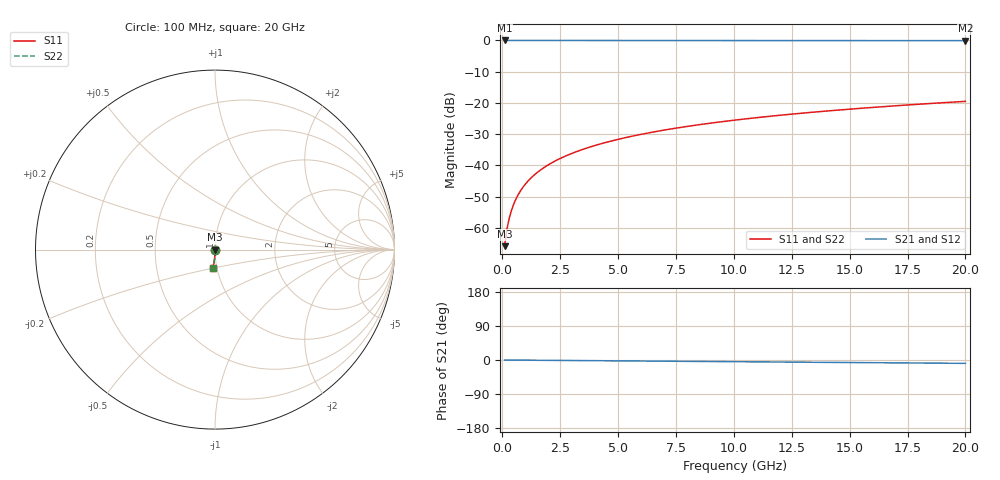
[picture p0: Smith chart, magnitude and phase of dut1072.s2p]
! Touchstone file exported from HFSS 2026.1.0
!  File:  C:/ffzhzh/LocalFiles/Ansys_Project_Files/temp_train_TSV_1072_1783189939_43440.aedt
!  Generated:  02:33:40 AM Jul  5, 2026
!  Design:  TSV
!  Project:  temp_train_TSV_1072_1783189939_43440
! Variables:
!  h_bsmrdl = 2um
!  h_ox = 20um
!  h_rdl = 5um
!  h_sub = 69.46um
!  h_tmrdl = 5um
!  h_tsv = 69.46um
!  h_via = 3um
!  l_bsmrdl = 300um
!  l_sub = 413.36um
!  l_tmrdl = 200um
!  m_sub = 200um
!  pitch = 15.47um
!  r_tsv = 6.68um
!  s_tmrdl = 10um
!  w_bsmrdl = 18um
!  w_sub = 500um
!  w_tmrdl = 12um
!  x_tsv_center1 = 206um
!  x_tsv_center2 = 524um
!  x_tsv_center3 = 736um
!  x_tsv_center4 = 1054um
!  x_tsv_center5 = 1266um
!  x_tsv_center6 = 1584um
# GHz S MA R 50.000000
! Terminal data exported
! Port[1] = TSV1_1_T1
! Port[2] = TSV1_1_T2
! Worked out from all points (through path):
!   200 points, 100 MHz to 20 GHz, reference 50 ohm
!   highest |S21| = 0.00 dB at 100 MHz (marker M1); lowest = -0.1 dB at 20 GHz (marker M2)
!   group delay of S21, straight-line fit = 1.23 ps
!   lowest |S11| = -65.9 dB at 100 MHz (marker M3), VSWR 1.00, Z = 50 - j0.0448 ohm
!   |S11| at or under -10 dB: start of sweep to end of sweep
!   |S22| runs from -65.9 to -19.5 dB; largest |S21 - S12| = 3.2e-15
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0.1  0.0005061 -62.2  0.9998 -0.0  0.9998 -0.0  0.0005061 -62.2
! Gamma 0 0 0 0
! Port Impedance 50 0 50 0
0.2  0.0009462 -73.5  0.9997 -0.1  0.9997 -0.1  0.0009462 -73.5
0.3  0.001419 -77.3  0.9997 -0.1  0.9997 -0.1  0.001419 -77.3
0.4  0.001912 -79.3  0.9996 -0.2  0.9996 -0.2  0.001912 -79.3
0.5  0.002418 -80.6  0.9996 -0.2  0.9996 -0.2  0.002418 -80.6
0.7  0.00345 -82.5  0.9995 -0.3  0.9995 -0.3  0.00345 -82.5
0.8  0.003971 -83.1  0.9995 -0.4  0.9995 -0.4  0.003971 -83.1
1  0.005016 -84.2  0.9994 -0.5  0.9994 -0.5  0.005016 -84.2
1.2  0.006061 -85.1  0.9994 -0.6  0.9994 -0.6  0.006061 -85.1
1.4  0.007105 -85.7  0.9994 -0.6  0.9994 -0.6  0.007105 -85.7
1.7  0.008672 -86.5  0.9993 -0.8  0.9993 -0.8  0.008672 -86.5
2  0.01024 -87.0  0.9992 -0.9  0.9992 -0.9  0.01024 -87.0
2.7  0.0139 -88.0  0.9991 -1.2  0.9991 -1.2  0.0139 -88.0
3.5  0.01811 -88.7  0.9989 -1.6  0.9989 -1.6  0.01811 -88.7
4.2  0.02181 -89.2  0.9988 -1.9  0.9988 -1.9  0.02181 -89.2
5  0.02605 -89.8  0.9985 -2.3  0.9985 -2.3  0.02605 -89.8
6.8  0.03563 -90.9  0.998 -3.1  0.998 -3.1  0.03563 -90.9
8.3  0.04363 -91.8  0.9976 -3.7  0.9976 -3.7  0.04363 -91.8
10.1  0.05323 -92.7  0.9969 -4.5  0.9969 -4.5  0.05323 -92.7
13.4  0.0708 -94.4  0.9956 -6.0  0.9956 -6.0  0.0708 -94.4
16.7  0.0883 -96.0  0.9939 -7.4  0.9939 -7.4  0.0883 -96.0
20  0.1057 -97.6  0.992 -8.9  0.992 -8.9  0.1057 -97.6
